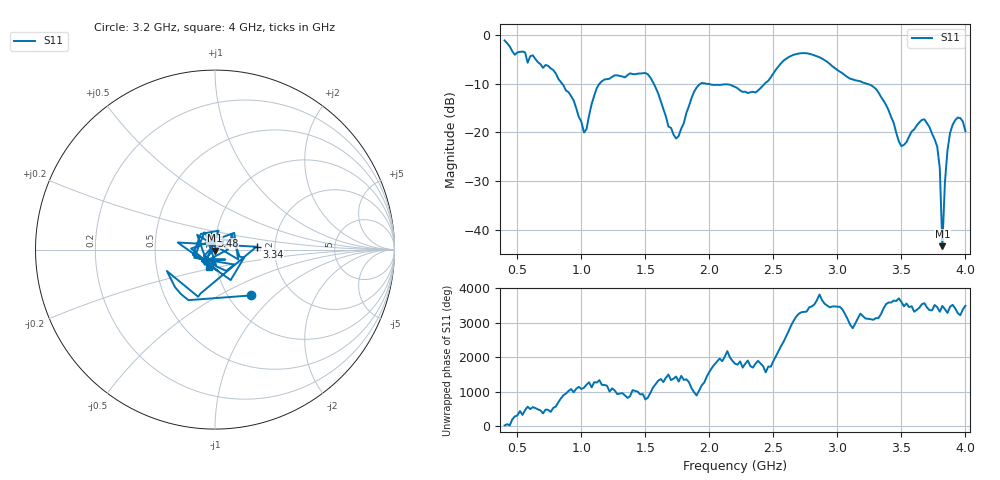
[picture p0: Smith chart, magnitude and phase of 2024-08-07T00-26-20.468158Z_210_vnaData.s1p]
!Created with skrf (http://scikit-rf.org).
# Hz S RI R 50.0
!freq ReS11 ImS11
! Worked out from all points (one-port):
!   181 points, 400 MHz to 4 GHz, reference 50 ohm
!   lowest |S11| = -43.3 dB at 3.82 GHz (marker M1), VSWR 1.01, Z = 49.7 - j0.623 ohm
!   |S11| at or under -10 dB: 1.565 GHz to 1.933 GHz (368.3 MHz wide, 21.1 % of centre); 1.971 GHz to 2.433 GHz (462.6 MHz wide, 21 % of centre); 3.226 GHz to end of sweep (the widest 3 of 4)
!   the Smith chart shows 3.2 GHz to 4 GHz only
!   S11 on the Smith chart (normalised r, x): 3.2 GHz: 1.27, -0.72; 3.34 GHz: 1.60, +0.05; 3.48 GHz: 0.95, +0.15; 4 GHz: 0.91, -0.18
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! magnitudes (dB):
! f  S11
! 400 MHz  -1.2
! 740 MHz  -6.4
! 860 MHz  -10.4
! 940 MHz  -13.5
! 1.02 GHz  -20.0
! 1.14 GHz  -10.1
! 1.3 GHz  -8.4
! 1.52 GHz  -8.1
! 1.68 GHz  -18.8
! 1.76 GHz  -20.7
! 1.92 GHz  -10.2
! 2.2 GHz  -10.7
! 2.36 GHz  -11.8
! 2.66 GHz  -4.1
! 2.86 GHz  -4.6
! 3.1 GHz  -9.0
! 3.2 GHz  -9.8
! 3.34 GHz  -12.7
! 3.48 GHz  -21.9
! 3.56 GHz  -20.9
! 3.68 GHz  -17.3
! 3.78 GHz  -22.9
! 3.8 GHz  -27.3
! 3.82 GHz  -43.3
! 3.84 GHz  -30.3
! 3.88 GHz  -20.2
! 3.94 GHz  -17.0
! 4 GHz  -19.8
